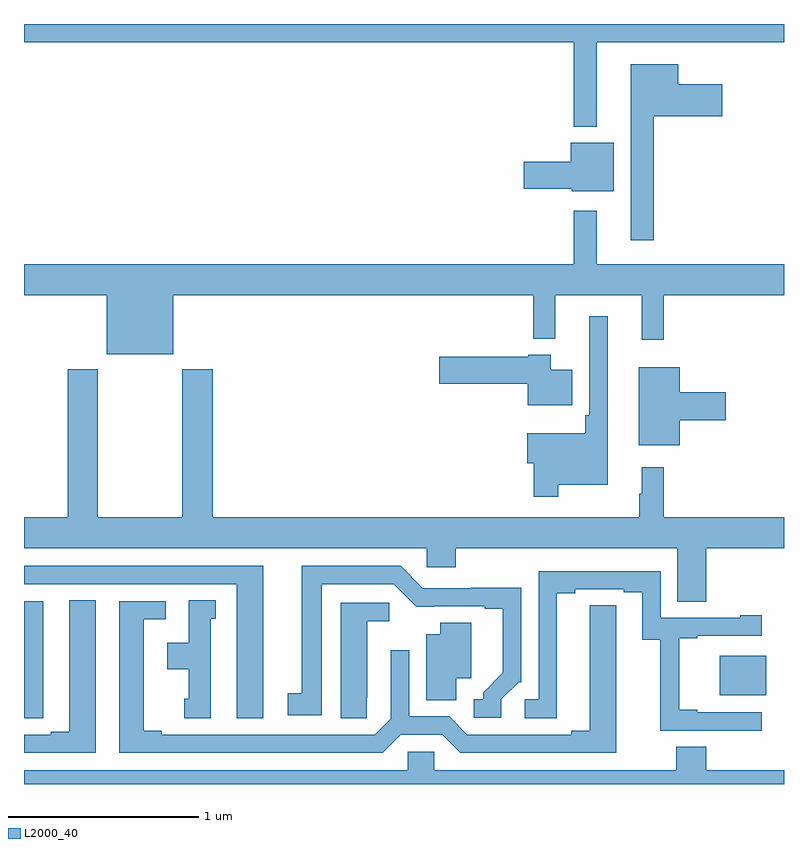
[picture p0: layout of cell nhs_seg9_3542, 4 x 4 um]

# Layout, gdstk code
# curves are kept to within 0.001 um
import gdstk
lib = gdstk.Library(unit=1e-6, precision=1e-09)
def R(c, l, rs):  # rectangles x0, y0, x1, y1
    for r in rs: c.add(gdstk.rectangle(r[:2], r[2:], *l))
def P(c, l, *ps):  # polygons
    for p in ps: c.add(gdstk.Polygon(p, *l))
L2000_40 = (2000, 40)

nhs_seg9_3542 = lib.new_cell('nhs_seg9_3542')
R(nhs_seg9_3542, L2000_40, [(316.661,1208.966,316.906,1209.175)])
P(nhs_seg9_3542, L2000_40, [(316.015,1212.404),(317,1212.404),(317,1212.5),(313,1212.5),(313,1212.404),(315.894,1212.404),(315.894,1211.96),(316.015,1211.96)],
  [(316.315,1212.014),(316.675,1212.014),(316.675,1212.184),(316.444,1212.184),(316.444,1212.289),(316.193,1212.289),(316.193,1211.361),(316.315,1211.361)],
  [(316.105,1211.875),(315.878,1211.875),(315.878,1211.774),(315.63,1211.774),(315.63,1211.632),(315.882,1211.632),(315.882,1211.621),(316.105,1211.621)],
  [(315.894,1211.518),(315.894,1211.236),(313,1211.236),(313,1211.072),(313.436,1211.072),(313.436,1210.763),(313.786,1210.763),(313.786,1211.072),(315.679,1211.072),(315.679,1210.844),(315.797,1210.844),(315.797,1211.072),(316.25,1211.072),(316.25,1210.839),(316.367,1210.839),(316.367,1211.072),(317,1211.072),(317,1211.236),(316.015,1211.236),(316.015,1211.518)],
  [(315.811,1210.076),(316.072,1210.076),(316.072,1210.963),(315.975,1210.963),(315.975,1210.441),(315.955,1210.441),(315.955,1210.345),(315.648,1210.345),(315.648,1210.187),(315.682,1210.187),(315.682,1210.011),(315.811,1210.011)],
  [(315.886,1210.681),(315.772,1210.681),(315.772,1210.759),(315.654,1210.759),(315.654,1210.749),(315.186,1210.749),(315.186,1210.607),(315.65,1210.607),(315.65,1210.493),(315.886,1210.493)],
  [(316.45,1210.415),(316.693,1210.415),(316.693,1210.562),(316.45,1210.562),(316.45,1210.693),(316.235,1210.693),(316.235,1210.283),(316.45,1210.283)],
  [(316.592,1209.74),(317,1209.74),(317,1209.904),(316.367,1209.904),(316.367,1210.168),(316.25,1210.168),(316.25,1210.028),(316.239,1210.028),(316.239,1209.904),(313.994,1209.904),(313.994,1210.684),(313.834,1210.684),(313.834,1209.904),(313.389,1209.904),(313.389,1210.684),(313.229,1210.684),(313.229,1209.904),(313,1209.904),(313,1209.74),(315.12,1209.74),(315.12,1209.642),(315.272,1209.642),(315.272,1209.74),(316.439,1209.74),(316.439,1209.46),(316.592,1209.46)],
  [(315.513,1208.946),(315.603,1209.036),(315.618,1209.036),(315.618,1209.533),(315.355,1209.533),(315.355,1209.531),(315.099,1209.531),(314.982,1209.648),(314.462,1209.648),(314.462,1208.978),(314.388,1208.978),(314.388,1208.862),(314.566,1208.862),(314.566,1209.552),(314.946,1209.552),(315.064,1209.434),(315.425,1209.435),(315.425,1209.423),(315.521,1209.423),(315.521,1209.086),(315.416,1208.981),(315.416,1208.946),(315.366,1208.946),(315.366,1208.85),(315.513,1208.85)],
  [(314.26,1209.648),(313,1209.648),(313,1209.552),(314.12,1209.552),(314.12,1208.847),(314.26,1208.847)],
  [(316.882,1208.877),(316.543,1208.877),(316.543,1208.89),(316.448,1208.89),(316.448,1209.267),(316.543,1209.267),(316.543,1209.279),(316.882,1209.279),(316.882,1209.388),(316.769,1209.388),(316.769,1209.375),(316.35,1209.375),(316.35,1209.621),(315.708,1209.621),(315.708,1208.946),(315.636,1208.946),(315.636,1208.845),(315.805,1208.845),(315.805,1209.505),(315.901,1209.505),(315.901,1209.525),(316.157,1209.525),(316.157,1209.51),(316.253,1209.51),(316.253,1209.259),(316.348,1209.259),(316.348,1208.781),(316.882,1208.781)],
  [(313.378,1209.467),(313.238,1209.467),(313.238,1208.775),(313.142,1208.775),(313.142,1208.76),(313,1208.76),(313,1208.664),(313.378,1208.664)],
  [(313.984,1209.369),(314.008,1209.369),(314.008,1209.467),(313.868,1209.467),(313.868,1209.244),(313.754,1209.244),(313.754,1209.104),(313.868,1209.104),(313.868,1208.949),(313.844,1208.949),(313.844,1208.847),(313.984,1208.847)],
  [(313.101,1208.953),(313.102,1208.953),(313.102,1209.463),(313,1209.463),(313,1208.845),(313.101,1208.845)],
  [(314.983,1208.76),(315.201,1208.76),(315.297,1208.664),(316.117,1208.664),(316.116,1209.44),(315.977,1209.44),(315.977,1208.78),(315.881,1208.78),(315.881,1208.76),(315.333,1208.76),(315.237,1208.856),(315.027,1208.856),(315.027,1209.205),(314.931,1209.205),(314.931,1208.844),(314.847,1208.76),(313.726,1208.76),(313.726,1208.78),(313.63,1208.78),(313.63,1209.366),(313.747,1209.366),(313.747,1209.462),(313.502,1209.462),(313.502,1208.664),(314.887,1208.664)],
  [(314.805,1208.953),(314.806,1208.953),(314.806,1209.356),(314.923,1209.356),(314.923,1209.453),(314.666,1209.453),(314.666,1208.845),(314.805,1208.845)],
  [(315.274,1209.056),(315.355,1209.056),(315.355,1209.35),(315.191,1209.35),(315.191,1209.289),(315.116,1209.289),(315.116,1208.941),(315.274,1208.941)],
  [(317,1208.572),(316.592,1208.572),(316.592,1208.696),(316.432,1208.696),(316.432,1208.572),(315.159,1208.572),(315.159,1208.67),(315.021,1208.67),(315.021,1208.572),(313,1208.572),(313,1208.5),(317,1208.5)])

lib.write_gds('nhs_seg9_3542.gds')
